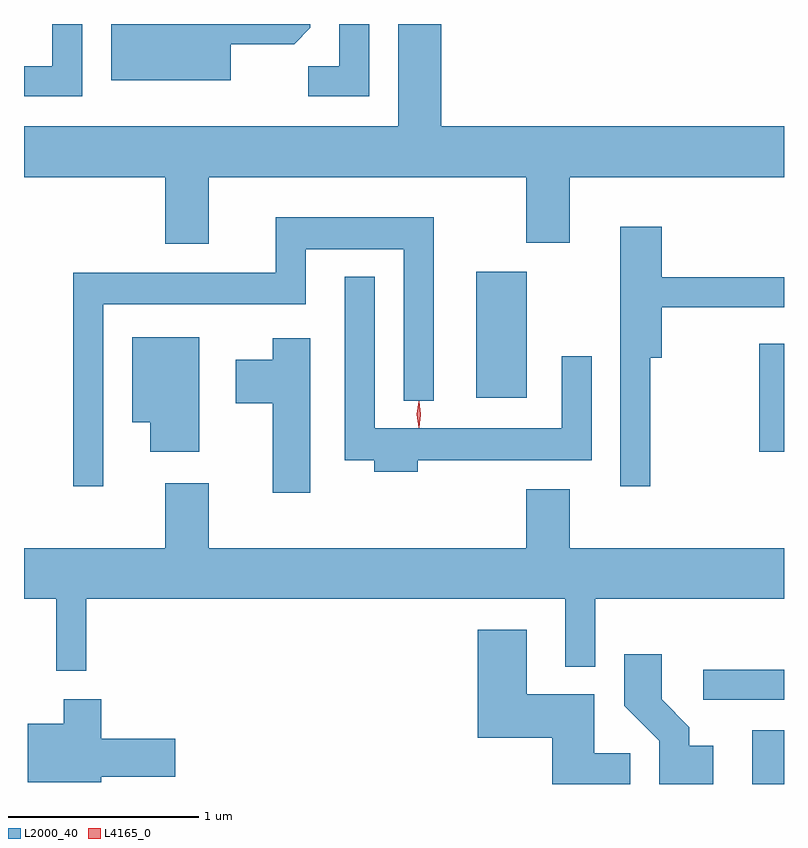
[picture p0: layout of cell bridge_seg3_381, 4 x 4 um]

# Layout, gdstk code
import gdstk
lib = gdstk.Library(unit=1e-6, precision=1e-09)
def R(c, l, rs):  # rectangles x0, y0, x1, y1
    for r in rs: c.add(gdstk.rectangle(r[:2], r[2:], *l))
def P(c, l, *ps):  # polygons
    for p in ps: c.add(gdstk.Polygon(p, *l))
L2000_40 = (2000, 40)
L4165_0 = (4165, 0)

bridge_seg3_381 = lib.new_cell('bridge_seg3_381')
R(bridge_seg3_381, L2000_40, [(567.841,1169.442,568.007,1169.724), (567.583,1169.886,568.007,1170.044), (567.876,1171.191,568.007,1171.759), (566.386,1171.476,566.654,1172.139)])
P(bridge_seg3_381, L2000_40, [(564.979,1172.636),(566.651,1172.636),(566.651,1172.291),(566.879,1172.291),(566.879,1172.636),(568.007,1172.636),(568.007,1172.904),(566.204,1172.904),(566.204,1173.442),(565.976,1173.442),(565.976,1172.904),(564.007,1172.904),(564.007,1172.636),(564.751,1172.636),(564.751,1172.286),(564.979,1172.286)],
  [(564.314,1173.442),(564.156,1173.442),(564.156,1173.219),(564.007,1173.219),(564.007,1173.061),(564.314,1173.061)],
  [(565.824,1173.442),(565.666,1173.442),(565.666,1173.219),(565.503,1173.219),(565.503,1173.061),(565.824,1173.061)],
  [(565.094,1173.336),(565.429,1173.336),(565.514,1173.422),(565.514,1173.442),(564.466,1173.442),(564.466,1173.146),(565.094,1173.146)],
  [(564.424,1171.966),(565.489,1171.966),(565.489,1172.256),(566.006,1172.256),(566.006,1171.458),(566.164,1171.458),(566.164,1172.424),(565.331,1172.424),(565.331,1172.134),(564.266,1172.134),(564.266,1171.008),(564.424,1171.008)],
  [(567.304,1171.686),(567.364,1171.686),(567.364,1171.951),(568.007,1171.951),(568.007,1172.109),(567.364,1172.109),(567.364,1172.374),(567.146,1172.374),(567.146,1171.008),(567.304,1171.008)],
  [(566.079,1171.146),(566.994,1171.146),(566.994,1171.693),(566.836,1171.693),(566.836,1171.314),(565.854,1171.314),(565.854,1172.113),(565.696,1172.113),(565.696,1171.146),(565.851,1171.146),(565.851,1171.086),(566.079,1171.086)],
  [(564.929,1171.794),(564.576,1171.794),(564.576,1171.346),(564.671,1171.346),(564.671,1171.191),(564.929,1171.191)],
  [(565.514,1171.789),(565.316,1171.789),(565.316,1171.674),(565.121,1171.674),(565.121,1171.446),(565.316,1171.446),(565.316,1170.976),(565.514,1170.976)],
  [(566.856,1170.058),(567.014,1170.058),(567.014,1170.416),(568.007,1170.416),(568.007,1170.684),(566.879,1170.684),(566.879,1170.994),(566.651,1170.994),(566.651,1170.684),(564.979,1170.684),(564.979,1171.024),(564.751,1171.024),(564.751,1170.684),(564.007,1170.684),(564.007,1170.416),(564.176,1170.416),(564.176,1170.038),(564.334,1170.038),(564.334,1170.416),(566.856,1170.416)],
  [(567.199,1169.604),(567.009,1169.604),(567.009,1169.914),(566.654,1169.914),(566.654,1170.254),(566.396,1170.254),(566.396,1169.686),(566.786,1169.686),(566.786,1169.442),(567.199,1169.442)],
  [(567.634,1169.644),(567.509,1169.644),(567.509,1169.742),(567.364,1169.887),(567.364,1170.124),(567.166,1170.124),(567.166,1169.854),(567.351,1169.669),(567.351,1169.442),(567.634,1169.442)],
  [(564.414,1169.481),(564.804,1169.481),(564.804,1169.679),(564.414,1169.679),(564.414,1169.889),(564.216,1169.889),(564.216,1169.759),(564.026,1169.759),(564.026,1169.451),(564.414,1169.451)])
P(bridge_seg3_381, L4165_0, [(566.086,1171.32),(566.086,1171.32),(566.076,1171.386),(566.085,1171.452),(566.086,1171.453),(566.086,1171.452),(566.096,1171.386),(566.086,1171.32)],
  [(566.085,1171.317),(566.084,1171.318),(566.075,1171.387),(566.084,1171.456),(566.085,1171.456),(566.086,1171.456),(566.095,1171.387),(566.086,1171.318)])

lib.write_gds('bridge_seg3_381.gds')
